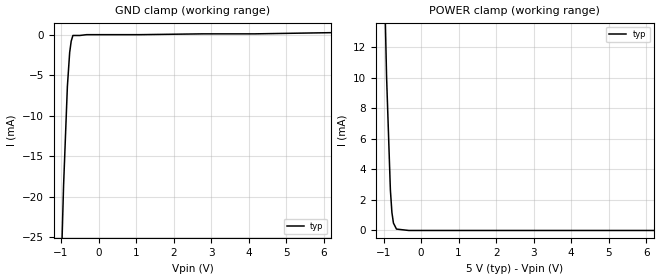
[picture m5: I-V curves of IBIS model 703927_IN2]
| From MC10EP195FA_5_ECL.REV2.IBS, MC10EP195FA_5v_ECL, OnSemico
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| (C) COPYRIGHT 1993-2001
| MENTOR GRAPHICS CORPORATION
| ICX STANDARD LIBRARY, ICX PROJECT MODELING,
| ICX CUSTOM MODELING, ICX VENDOR MODEL
| ALL RIGHTS RESERVED.
| THE FOLLOWING ARE TRADEMARKS OR SERVICE MARKS OF
| MENTOR GRAPHICS CORPORATION:ICX (R), ICX STANDARD
| LIBRARY(R), ICX PROJECT MODELING(R), ICX CUSTOM
| MODELING(R), qualityIBIS(TM), MODELVIEWER(TM),
| AND MODELEDITOR(TM)
| ALL COPIES OF SOFTWARE, INCLUDING BUT NOT LIMITED TO
| ANY MODIFICATIONS, ENHANCEMENTS OR DERIVATIVE WORKS,
| MUST CONTAIN ALL MENTOR GRAPHICS CORPORATION'S
| NOTICES AND LEGENDS, INCLUDING THOSE EMBEDDED IN
| SOFTWARE AND THOSE AFFIXED TO SOFTWARE MEDIUM
| AND CONTAINER, AS RECEIVED FROM MENTOR GRAPHICS
| CORPORATION.
| Model Application Version 1.89 2/18/99.
[Model] 703927_IN2
Model_type Input_ECL
Vinl = 3.455V
Vinh = 3.855V
C_comp 4.000pF NA NA
| variable typ   min   max
[Voltage Range] 5.000V NA NA
[GND Clamp Reference] 0.000V NA NA
[POWER Clamp Reference] 5.000V NA NA
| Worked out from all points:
|   GND clamp passes 1 mA (typ) near -0.73 V on its own axis
|   POWER clamp passes 1 mA (typ) near -0.77 V on its own axis
[GND Clamp]
-5V       -827.7mA   NA         NA
-1.054V   -38.5mA    NA         NA
-932mV    -18.6mA    NA         NA
-831mV    -6.4mA     NA         NA
-770mV    -2.2mA     NA         NA
-729mV    -800uA     NA         NA
-683.7mV  -100uA     NA         NA
-319.3mV  0A         NA         NA
4.155V    100uA      NA         NA
10V       524uA      NA         NA
[POWER Clamp]
-5V       546.9mA    NA         NA
-1.061V   25.66mA    NA         NA
-919mV    10.07mA    NA         NA
-818mV    2.679mA    NA         NA
-777mV    1.182mA    NA         NA
-736mV    485.3uA    NA         NA
-655mV    91.22uA    NA         NA
-327.5mV  0A         NA         NA
10V       0A         NA         NA
